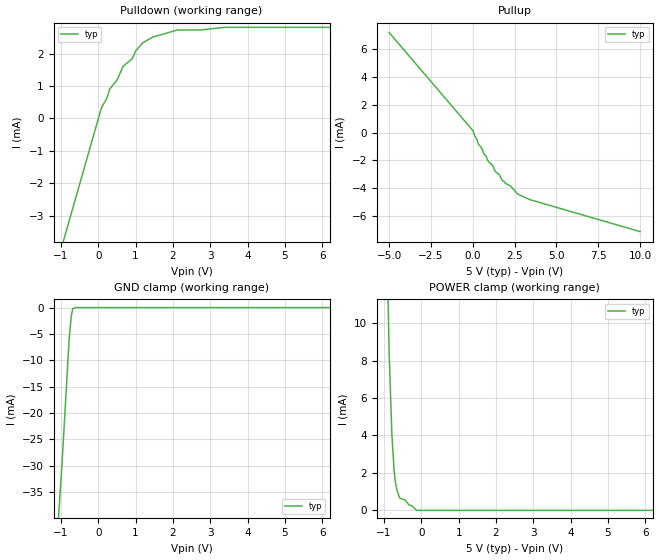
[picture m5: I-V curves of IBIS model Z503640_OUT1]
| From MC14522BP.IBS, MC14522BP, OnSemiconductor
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| (C) COPYRIGHT 1993-2000
| MENTOR GRAPHICS CORPORATION
| ICX STANDARD LIBRARY, ICX PROJECT MODELING,
| ICX CUSTOM MODELING, ICX VENDOR MODEL
| ALL RIGHTS RESERVED.
| THE FOLLOWING ARE TRADEMARKS OR SERVICE MARKS OF
| MENTOR GRAPHICS CORPORATION:ICX (R), ICX STANDARD
| LIBRARY(R), ICX PROJECT MODELING(R), ICX CUSTOM
| MODELING(R), qualityIBIS(TM), MODELVIEWER(TM),
| AND MODELEDITOR(TM)
| ALL COPIES OF SOFTWARE, INCLUDING BUT NOT LIMITED TO
| ANY MODIFICATIONS, ENHANCEMENTS OR DERIVATIVE WORKS,
| MUST CONTAIN ALL MENTOR GRAPHICS CORPORATION'S
| NOTICES AND LEGENDS, INCLUDING THOSE EMBEDDED IN
| SOFTWARE AND THOSE AFFIXED TO SOFTWARE MEDIUM
| AND CONTAINER, AS RECEIVED FROM MENTOR GRAPHICS
| CORPORATION.
| Model Application Version 1.89 2/18/99.
[Model] Z503640_OUT1
Model_type Output
Vref=0.000V
Rref=500.0Mohms
Cref=50.00pF
Vmeas=2.500V
C_comp 8.000pF NA NA
| variable typ   min   max
[Voltage Range] 5.000V NA NA
[POWER Clamp Reference] 5.000V NA NA
[Pullup Reference] 5.000V NA NA
[Pulldown Reference] 0.000V NA NA
[GND Clamp Reference] 0.000V NA NA
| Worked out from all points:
|   slope of the pulldown table from 0 to 0.75 V, typ, clamps not added: 440 ohm
|   slope of the pullup table from 0 to 0.75 V, typ, clamps not added: 424 ohm
|   GND clamp passes 1 mA (typ) near -0.71 V on its own axis
|   POWER clamp passes 1 mA (typ) near -0.64 V on its own axis
[GND Clamp]
-5V       -464.6mA   NA         NA
-972mV    -29.58mA   NA         NA
-780.2mV  -5.873mA   NA         NA
-726.6mV  -1.699mA   NA         NA
-683.9mV  -198.3uA   NA         NA
-607.9mV  0A         NA         NA
10V       0A         NA         NA
[Pulldown]
-5V       -20.19mA   NA         NA
86.75mV   337.6uA    NA         NA
228.2mV   617.9uA    NA         NA
306.1mV   907.5uA    NA         NA
504.4mV   1.191mA    NA         NA
664.8mV   1.612mA    NA         NA
902.6mV   1.832mA    NA         NA
1.185V    2.329mA    NA         NA
1.444V    2.504mA    NA         NA
2.12V     2.731mA    NA         NA
3.376V    2.813mA    NA         NA
10V       2.813mA    NA         NA
[Pullup]
-5V       7.151mA    NA         NA
5mV       137.9uA    NA         NA
344mV     -848.2uA   NA         NA
923mV     -2.061mA   NA         NA
1.2V      -2.389mA   NA         NA
1.339V    -2.784mA   NA         NA
1.578V    -3.008mA   NA         NA
1.758V    -3.427mA   NA         NA
2.255V    -3.82mA    NA         NA
2.672V    -4.393mA   NA         NA
3.408V    -4.8mA     NA         NA
10V       -7.089mA   NA         NA
[POWER Clamp]
-5V       744.1mA    NA         NA
-1.026V   24.7mA     NA         NA
-862mV    8.33mA     NA         NA
-789mV    4.043mA    NA         NA
-729mV    2.097mA    NA         NA
-690mV    1.441mA    NA         NA
-651mV    1.05mA     NA         NA
-576mV    649uA      NA         NA
-434mV    554uA      NA         NA
-332mV    289.5uA    NA         NA
-127mV    0A         NA         NA
10V       0A         NA         NA
[Ramp]
| variable typ min max
dV/dt_r 2.525/12.99n NA NA
dV/dt_f 2.525/13.78n NA NA
R_load = 2.500kOhms
